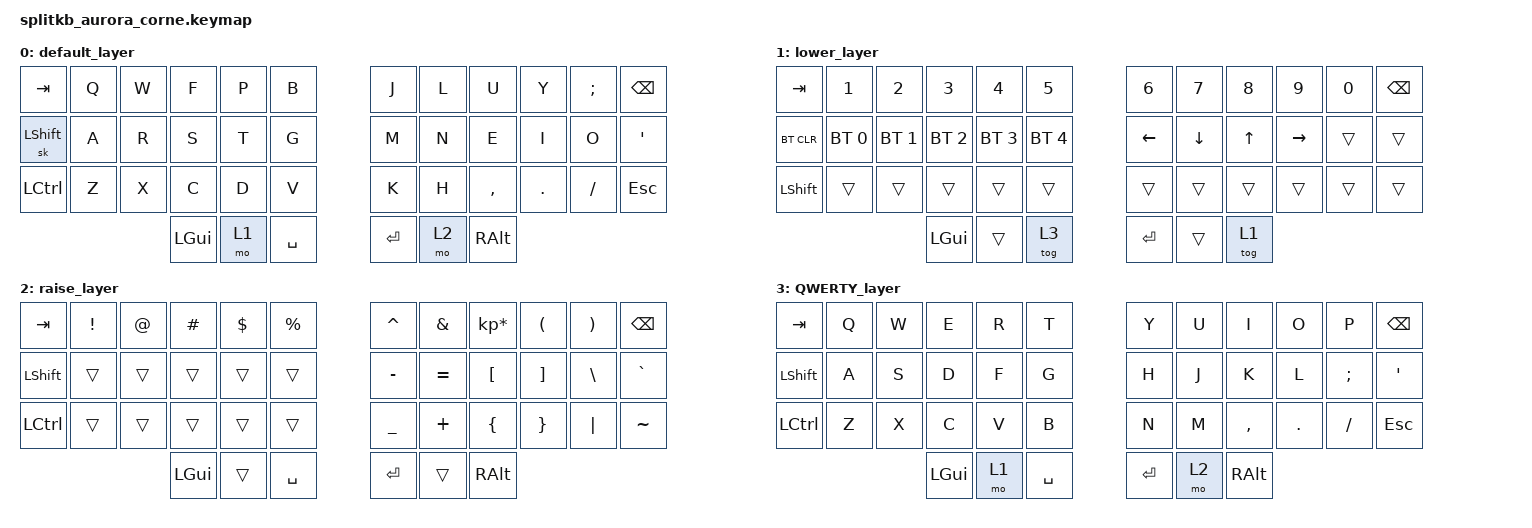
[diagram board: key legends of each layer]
/*
 * Copyright (c) 2020 The ZMK Contributors
 *
 * SPDX-License-Identifier: MIT
 */

#include <behaviors.dtsi>
#include <dt-bindings/zmk/keys.h>
#include <dt-bindings/zmk/bt.h>

#define DEFAULT 0
#define LOWER   1
#define RAISE   2
#define QWERTY  3


/ {
        keymap {
                compatible = "zmk,keymap";

                default_layer {
// -----------------------------------------------------------------------------------------
// |  TAB |  Q  |  W  |  F  |  P  |  B  |   |  J  |  L   |  U  |  Y  |  ;  | BKSP |
// | SHFT |  A  |  R  |  S  |  T  |  G  |   |  M  |  N   |  E  |  I  |  O  |  '   |
// | CTRL |  Z  |  X  |  C  |  D  |  D  |   |  K  |  H   |  ,  |  .  |  /  | ESC  |
//                    | GUI | LWR | SPC |   | ENT | RSE  | ALT |
                        bindings = <
   &kp TAB   &kp Q &kp W &kp F &kp P &kp B   &kp J &kp L  &kp U     &kp Y   &kp SEMI    &kp BSPC
   &sk LSHFT &kp A &kp R &kp S &kp T &kp G   &kp M &kp N  &kp E     &kp I   &kp O &kp SQT
   &kp LCTRL &kp Z &kp X &kp C &kp D &kp V   &kp K &kp H  &kp COMMA &kp DOT &kp FSLH &kp ESC
                  &kp LGUI &mo 1 &kp SPACE   &kp RET &mo 2 &kp RALT
                        >;
                };
                lower_layer {
// -----------------------------------------------------------------------------------------
// |  TAB |  1  |  2  |  3  |  4  |  5  |   |  6  |  7  |  8  |  9  |  0  | BKSP |
// | BTCLR| BT1 | BT2 | BT3 | BT4 | BT5 |   | LFT | DWN |  UP | RGT |     |      |
// | SHFT |     |     |     |     |     |   |     |     |     |     |     |      |
//                    | GUI |     | TOG3 |   | ENT |    | TOG1 |
                        bindings = <
   &kp TAB    &kp N1       &kp N2       &kp N3       &kp N4       &kp N5         &kp N6   &kp N7   &kp N8 &kp N9    &kp N0 &kp BSPC
   &bt BT_CLR &bt BT_SEL 0 &bt BT_SEL 1 &bt BT_SEL 2 &bt BT_SEL 3 &bt BT_SEL 4   &kp LEFT &kp DOWN &kp UP &kp RIGHT &trans &trans
   &kp LSHFT  &trans       &trans       &trans       &trans       &trans         &trans   &trans   &trans &trans    &trans &trans
                          	        &kp LGUI     &trans       &tog 3      &kp RET  &trans   &tog 1
                        >;
                };

                raise_layer {
// -----------------------------------------------------------------------------------------
// |  TAB |  !  |  @  |  #  |  $  |  %  |   |  ^  |  &  |  *  |  (  |  )  | BKSP |
// | SHFT |     |     |     |     |     |   |  -  |  =  |  [  |  ]  |  \  |  `   |
// | CTRL |     |     |     |     |     |   |  _  |  +  |  {  |  }  | "|" |  ~   |
//                    | GUI |     | SPC |   | ENT |     | ALT |
                        bindings = <
   &kp  TAB  &kp EXCL &kp AT &kp HASH &kp DLLR &kp PRCNT   &kp CARET &kp AMPS  &kp KP_MULTIPLY &kp LPAR &kp RPAR &kp BSPC
   &kp LSHFT &trans   &trans &trans   &trans   &trans      &kp MINUS &kp EQUAL &kp LBKT        &kp RBKT &kp BSLH &kp GRAVE
   &kp LCTRL &trans   &trans &trans   &trans   &trans      &kp UNDER &kp PLUS  &kp LBRC        &kp RBRC &kp PIPE &kp TILDE
                    	     &kp LGUI &trans   &kp SPACE   &kp RET   &trans    &kp RALT
                        >;
                };
                QWERTY_layer {
// -----------------------------------------------------------------------------------------
// |  TAB |  Q  |  W  |  E  |  R  |  T  |   |  Y  |  U   |  I  |  O  |  P  | BKSP |
// | SHFT |  A  |  S  |  D  |  F  |  G  |   |  H  |  J   |  K  |  L  |  ;  |  '   |
// | CTRL |  Z  |  X  |  C  |  V  |  B  |   |  N  |  M   |  ,  |  .  |  /  | ESC  |
//                    | GUI | LWR | SPC |   | ENT | RSE  | ALT |
                        bindings = <
   &kp TAB   &kp Q &kp W &kp E &kp R &kp T   &kp Y &kp U  &kp I     &kp O   &kp P    &kp BSPC
   &kp LSHFT &kp A &kp S &kp D &kp F &kp G   &kp H &kp J  &kp K     &kp L   &kp SEMI &kp SQT
   &kp LCTRL &kp Z &kp X &kp C &kp V &kp B   &kp N &kp M  &kp COMMA &kp DOT &kp FSLH &kp ESC
                  &kp LGUI &mo 1 &kp SPACE   &kp RET &mo 2 &kp RALT
                        >;
                };
        };
};
